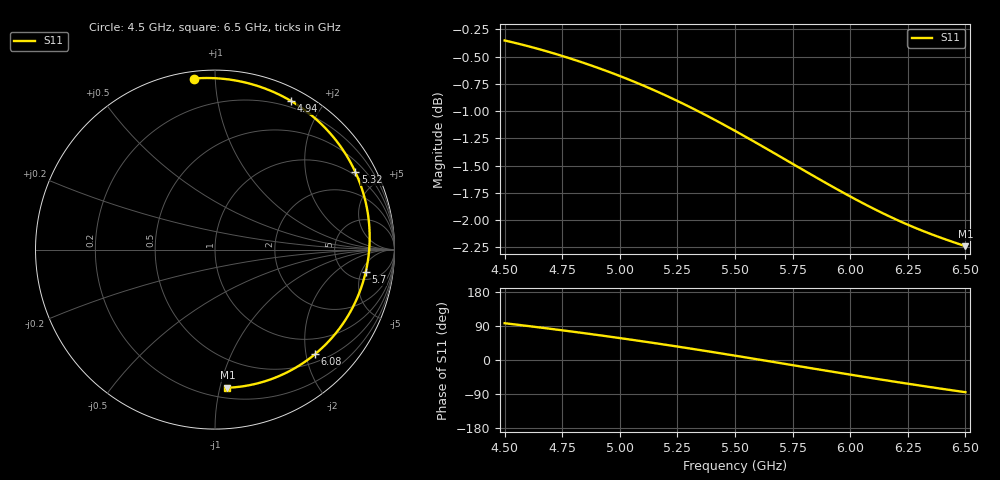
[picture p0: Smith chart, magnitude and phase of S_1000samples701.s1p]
! TOUCHSTONE file generated by CST MICROWAVE STUDIO
! Date and time: Sat Oct 29 02:07:31 2022
! Project name: L.cst
! Parameters = {Di=1.27; Epsilon_r=1.56; InnerDiameter=1.27; Length=2; Lf=10; Lg=60; OuterConductorThickness=0.2921; OuterDiameter=3.6; Wf=3; Wp=41.2; de=1.5; df=6.8; g=0.8; gx=3.67512; gy=4.63616; h=2.34; hf=1.524; px=11.3859; py=10.002; w=9.7; wx=7.71079; wy=5.36587}
! Header version: 2018
! Port assignment regex: !\s*Touchstone port\s*([0-9]+)\s*=\s*(CST MWS port|CST DS port)\s*([0-9]+|Zmin|Zmax)\s*\(\"(.*)\"\)(\s*mode\s*([0-9]+))?.*
! Touchstone port assignment:
! Touchstone port 1 = CST MWS port 1 ("")
# GHz S DB R 50
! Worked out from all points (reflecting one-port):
!   101 points, 4.5 GHz to 6.5 GHz, reference 50 ohm
!   lowest |S11| = -2.2 dB at 6.5 GHz (marker M1), VSWR 7.79, Z = 13.8 - j52.7 ohm
!   phase of S11 starts at 97 deg and turns -182 deg over the sweep
!   S11 on the Smith chart (normalised r, x): 4.5 GHz: 0.04, +0.88; 4.94 GHz: 0.13, +1.63; 5.32 GHz: 0.86, +3.69; 5.7 GHz: 6.72, -6.05; 6.08 GHz: 0.65, -2.17; 6.5 GHz: 0.28, -1.05
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4.5  -0.35 97.1
4.58  -0.39 91.3
4.64  -0.43 86.8
4.7  -0.46 82.2
4.76  -0.50 77.6
4.86  -0.57 69.6
4.94  -0.63 62.9
5  -0.68 57.9
5.06  -0.73 52.7
5.12  -0.78 47.3
5.2  -0.86 40.1
5.26  -0.92 34.5
5.32  -0.98 28.9
5.42  -1.09 19.3
5.5  -1.18 11.5
5.6  -1.30 1.5
5.7  -1.42 -8.5
5.76  -1.50 -14.6
5.82  -1.57 -20.6
5.88  -1.64 -26.6
6  -1.78 -38.6
6.08  -1.87 -46.4
6.16  -1.96 -54.1
6.26  -2.05 -63.5
6.32  -2.10 -69.0
6.38  -2.15 -74.4
6.44  -2.20 -79.7
6.5  -2.24 -84.9
